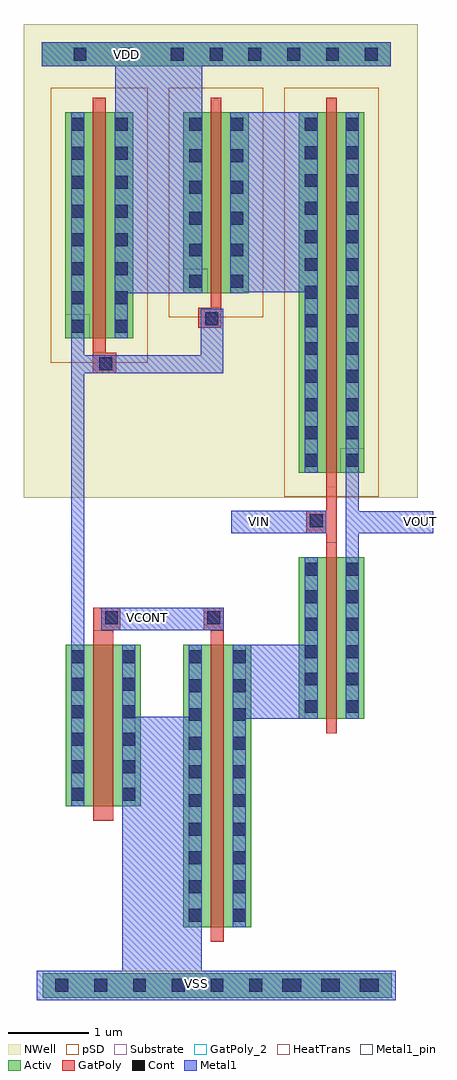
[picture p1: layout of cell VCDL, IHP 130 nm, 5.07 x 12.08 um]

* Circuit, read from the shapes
.subckt VCDL VCONT VDD VIN VOUT VSS
XM1 VSS VCONT n1 VSS sg13_lv_nmos w=2u l=0.25u
XM2 n2 VCONT VSS VSS sg13_lv_nmos w=3.5u l=0.16u
XM3 VOUT VIN n2 VSS sg13_lv_nmos w=2u l=0.13u
XM4 VDD n1 n1 VDD sg13_lv_pmos w=2.8u l=0.16u
XM5 n3 n1 VDD VDD sg13_lv_pmos w=2.24u l=0.13u
XM6 VOUT VIN n3 VDD sg13_lv_pmos w=4.46u l=0.13u
.ends

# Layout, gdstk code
from math import pi, radians
import gdstk
lib = gdstk.Library(unit=1e-6, precision=1e-09)
def R(c, l, rs):  # rectangles x0, y0, x1, y1
    for r in rs: c.add(gdstk.rectangle(r[:2], r[2:], *l))
def A(c, l, x, y, w, h, nx, ny, dx, dy):  # array of equal rectangles
    R(c, l, [(x+i*dx, y+j*dy, x+i*dx+w, y+j*dy+h) for i in range(nx) for j in range(ny)])
Activ = (1, 0)
GatPoly = (5, 0)
GatPoly_2 = (5, 2)
Cont = (6, 0)
Metal1 = (8, 0)
Metal1_pin = (8, 2)
pSD = (14, 0)
NWell = (31, 0)
Substrate = (40, 0)
HeatTrans = (51, 0)

nmos = lib.new_cell('nmos')
R(nmos, Activ, [(0,0,0.3,0.3), (0,0,0.81,2), (0.51,0,0.81,0.3)])
R(nmos, GatPoly, [(0.34,-0.18,0.47,2.18)])
R(nmos, GatPoly_2, [(0.34,-0.18,0.47,2.18)])
A(nmos, Cont, 0.07, 0.07, 0.16, 0.16, 1, 6, 0, 0.34)
A(nmos, Cont, 0.58, 0.07, 0.16, 0.16, 1, 6, 0, 0.34)
R(nmos, Metal1, [(0.07,0,0.23,2), (0.58,0,0.74,2)])
R(nmos, Metal1_pin, [(0.07,0,0.23,2), (0.58,0,0.74,2)])
R(nmos, HeatTrans, [(0.34,-0.18,0.47,2.18)])
nmos.add(gdstk.Label('nmos', (0.405,1), layer=63, texttype=0))
nmos.add(gdstk.Label('nmos', (0.405,1), layer=51, texttype=0))

pmos_1 = lib.new_cell('pmos$1')
R(pmos_1, Activ, [(0,0,0.3,0.3), (0,0,0.84,2.8), (0.54,0,0.84,0.3)])
R(pmos_1, GatPoly, [(0.34,-0.18,0.5,2.98), (0.34,-0.18,0.5,2.98)])
A(pmos_1, Cont, 0.07, 0.07, 0.16, 0.16, 1, 3, 0, 0.355)
A(pmos_1, Cont, 0.61, 0.07, 0.16, 0.16, 1, 3, 0, 0.355)
R(pmos_1, Cont, [(0.07,1.14,0.23,1.3), (0.61,1.14,0.77,1.3), (0.07,1.495,0.23,1.655), (0.61,1.495,0.77,1.655), (0.07,1.855,0.23,2.015), (0.61,1.855,0.77,2.015), (0.07,2.21,0.23,2.37), (0.61,2.21,0.77,2.37), (0.07,2.57,0.23,2.73), (0.61,2.57,0.77,2.73)])
R(pmos_1, Metal1, [(0.07,0,0.23,2.8), (0.07,0,0.23,2.8), (0.61,0,0.77,2.8), (0.61,0,0.77,2.8)])
R(pmos_1, pSD, [(-0.18,-0.3,1.02,3.1)])
R(pmos_1, NWell, [(-0.31,-0.31,1.15,3.11)])
R(pmos_1, Substrate, [(0.54,0,0.84,0.3)])
R(pmos_1, HeatTrans, [(0.34,-0.18,0.5,2.98)])
pmos_1.add(gdstk.Label('pmos', (0.42,1.4), layer=63, texttype=0))
pmos_1.add(gdstk.Label('pmos', (0.42,1.4), layer=51, texttype=0))

pmos = lib.new_cell('pmos')
R(pmos, Activ, [(0,0,0.3,0.3), (0,0,0.81,4.46), (0.51,0,0.81,0.3)])
R(pmos, GatPoly, [(0.34,-0.18,0.47,4.64), (0.34,-0.18,0.47,4.64)])
A(pmos, Cont, 0.07, 0.07, 0.16, 0.16, 1, 3, 0, 0.345)
A(pmos, Cont, 0.58, 0.07, 0.16, 0.16, 1, 3, 0, 0.345)
A(pmos, Cont, 0.07, 1.11, 0.16, 0.16, 1, 3, 0, 0.345)
A(pmos, Cont, 0.58, 1.11, 0.16, 0.16, 1, 3, 0, 0.345)
A(pmos, Cont, 0.07, 2.15, 0.16, 0.16, 1, 3, 0, 0.345)
A(pmos, Cont, 0.58, 2.15, 0.16, 0.16, 1, 3, 0, 0.345)
A(pmos, Cont, 0.07, 3.19, 0.16, 0.16, 1, 3, 0, 0.345)
A(pmos, Cont, 0.58, 3.19, 0.16, 0.16, 1, 3, 0, 0.345)
R(pmos, Cont, [(0.07,4.23,0.23,4.39), (0.58,4.23,0.74,4.39)])
R(pmos, Metal1, [(0.07,0,0.23,4.46), (0.07,0,0.23,4.46), (0.58,0,0.74,4.46), (0.58,0,0.74,4.46)])
R(pmos, pSD, [(-0.18,-0.3,0.99,4.76)])
R(pmos, NWell, [(-0.31,-0.31,1.12,4.77)])
R(pmos, Substrate, [(0.51,0,0.81,0.3)])
R(pmos, HeatTrans, [(0.34,-0.18,0.47,4.64)])
pmos.add(gdstk.Label('pmos', (0.405,2.23), layer=63, texttype=0))
pmos.add(gdstk.Label('pmos', (0.405,2.23), layer=51, texttype=0))

pmos_2 = lib.new_cell('pmos$2')
R(pmos_2, Activ, [(0,0,0.3,0.3), (0,0,0.81,2.24), (0.51,0,0.81,0.3)])
R(pmos_2, GatPoly, [(0.34,-0.18,0.47,2.42), (0.34,-0.18,0.47,2.42)])
A(pmos_2, Cont, 0.07, 1.23, 0.16, 0.16, 1, 3, 0, 0.39)
A(pmos_2, Cont, 0.58, 1.23, 0.16, 0.16, 1, 3, 0, 0.39)
R(pmos_2, Cont, [(0.07,0.07,0.23,0.23), (0.58,0.07,0.74,0.23), (0.07,0.455,0.23,0.615), (0.58,0.455,0.74,0.615), (0.07,0.845,0.23,1.005), (0.58,0.845,0.74,1.005)])
R(pmos_2, Metal1, [(0.07,0,0.23,2.24), (0.07,0,0.23,2.24), (0.58,0,0.74,2.24), (0.58,0,0.74,2.24)])
R(pmos_2, pSD, [(-0.18,-0.3,0.99,2.54)])
R(pmos_2, NWell, [(-0.31,-0.31,1.12,2.55)])
R(pmos_2, Substrate, [(0.51,0,0.81,0.3)])
R(pmos_2, HeatTrans, [(0.34,-0.18,0.47,2.42)])
pmos_2.add(gdstk.Label('pmos', (0.405,1.12), layer=63, texttype=0))
pmos_2.add(gdstk.Label('pmos', (0.405,1.12), layer=51, texttype=0))

nmos_2 = lib.new_cell('nmos$2')
R(nmos_2, Activ, [(0,0,0.3,0.3), (0,0,0.93,2), (0.63,0,0.93,0.3)])
R(nmos_2, GatPoly, [(0.34,-0.18,0.59,2.18)])
R(nmos_2, GatPoly_2, [(0.34,-0.18,0.59,2.18)])
A(nmos_2, Cont, 0.07, 0.07, 0.16, 0.16, 1, 6, 0, 0.34)
A(nmos_2, Cont, 0.7, 0.07, 0.16, 0.16, 1, 6, 0, 0.34)
R(nmos_2, Metal1, [(0.07,0,0.23,2), (0.7,0,0.86,2)])
R(nmos_2, Metal1_pin, [(0.07,0,0.23,2), (0.7,0,0.86,2)])
R(nmos_2, HeatTrans, [(0.34,-0.18,0.59,2.18)])
nmos_2.add(gdstk.Label('nmos', (0.465,1), layer=63, texttype=0))
nmos_2.add(gdstk.Label('nmos', (0.465,1), layer=51, texttype=0))

nmos_1 = lib.new_cell('nmos$1')
R(nmos_1, Activ, [(0,0,0.3,0.3), (0,0,0.84,3.5), (0.54,0,0.84,0.3)])
R(nmos_1, GatPoly, [(0.34,-0.18,0.5,3.68)])
R(nmos_1, GatPoly_2, [(0.34,-0.18,0.5,3.68)])
A(nmos_1, Cont, 0.07, 0.07, 0.16, 0.16, 1, 9, 0, 0.355)
A(nmos_1, Cont, 0.61, 0.07, 0.16, 0.16, 1, 9, 0, 0.355)
R(nmos_1, Cont, [(0.07,3.27,0.23,3.43), (0.61,3.27,0.77,3.43)])
R(nmos_1, Metal1, [(0.07,0,0.23,3.5), (0.61,0,0.77,3.5)])
R(nmos_1, Metal1_pin, [(0.07,0,0.23,3.5), (0.61,0,0.77,3.5)])
R(nmos_1, HeatTrans, [(0.34,-0.18,0.5,3.68)])
nmos_1.add(gdstk.Label('nmos', (0.42,1.75), layer=63, texttype=0))
nmos_1.add(gdstk.Label('nmos', (0.42,1.75), layer=51, texttype=0))

vcdl = lib.new_cell('VCDL')
R(vcdl, Activ, [(6.916,7.611,8.356,7.911), (6.916,7.611,8.356,7.911), (8.356,7.611,9.796,7.911), (8.356,7.611,9.796,7.911), (9.796,7.611,11.236,7.911), (9.796,7.611,11.236,7.911), (6.91,19.137,8.35,19.437), (8.345,19.137,9.785,19.437), (9.785,19.137,11.225,19.437)])
R(vcdl, GatPoly, [(7.541,12.16,7.88,12.439), (8.909,12.16,9.159,12.439), (10.43,13.244,10.56,13.93), (10.18,13.359,10.43,13.638), (7.54,15.34,7.826,15.591), (8.845,15.9,9.131,16.151)])
R(vcdl, GatPoly_2, [(10.43,13.93,10.56,18.75), (7.54,15.59,7.7,18.75), (9,16.15,9.13,18.75)])
R(vcdl, Cont, [(7.076,7.681,7.236,7.841), (7.076,7.681,7.236,7.841), (7.076,7.681,7.236,7.841), (7.076,7.681,7.236,7.841), (7.556,7.681,7.716,7.841), (7.556,7.681,7.716,7.841), (7.556,7.681,7.716,7.841), (7.556,7.681,7.716,7.841), (8.036,7.681,8.196,7.841), (8.036,7.681,8.196,7.841), (8.036,7.681,8.196,7.841), (8.036,7.681,8.196,7.841), (8.516,7.681,8.676,7.841), (8.516,7.681,8.676,7.841), (8.516,7.681,8.676,7.841), (8.516,7.681,8.676,7.841), (8.996,7.681,9.156,7.841), (8.996,7.681,9.156,7.841), (8.996,7.681,9.156,7.841), (8.996,7.681,9.156,7.841), (9.476,7.681,9.636,7.841), (9.476,7.681,9.636,7.841), (9.476,7.681,9.636,7.841), (9.476,7.681,9.636,7.841), (9.883,7.681,10.043,7.841), (9.883,7.681,10.043,7.841), (9.883,7.681,10.043,7.841), (9.883,7.681,10.043,7.841), (9.956,7.681,10.116,7.841), (9.956,7.681,10.116,7.841), (9.956,7.681,10.116,7.841), (9.956,7.681,10.116,7.841), (10.363,7.681,10.523,7.841), (10.363,7.681,10.523,7.841), (10.363,7.681,10.523,7.841), (10.363,7.681,10.523,7.841), (10.436,7.681,10.596,7.841), (10.436,7.681,10.596,7.841), (10.436,7.681,10.596,7.841), (10.436,7.681,10.596,7.841), (10.843,7.681,11.003,7.841), (10.843,7.681,11.003,7.841), (10.843,7.681,11.003,7.841), (10.843,7.681,11.003,7.841), (10.916,7.681,11.076,7.841), (10.916,7.681,11.076,7.841), (10.916,7.681,11.076,7.841), (10.916,7.681,11.076,7.841), (7.69,12.23,7.85,12.39), (8.954,12.232,9.114,12.392), (10.225,13.431,10.385,13.591), (7.621,15.376,7.781,15.536), (8.931,15.936,9.091,16.096), (7.3,19.207,7.46,19.367), (7.878,19.207,8.038,19.367), (7.878,19.207,8.038,19.367), (8.505,19.207,8.665,19.367), (8.985,19.207,9.145,19.367), (8.985,19.207,9.145,19.367), (9.465,19.207,9.625,19.367), (9.465,19.207,9.625,19.367), (9.945,19.207,10.105,19.367), (9.945,19.207,10.105,19.367), (10.425,19.207,10.585,19.367), (10.425,19.207,10.585,19.367), (10.905,19.207,11.065,19.367), (10.905,19.207,11.065,19.367)])
R(vcdl, Metal1, [(6.846,7.581,11.291,7.941), (6.846,7.581,11.291,7.941), (7.901,7.941,8.889,11.085), (9.269,11.064,10.32,11.98), (7.271,11.98,7.431,15.77), (7.64,12.16,9.159,12.439), (10.67,13.064,10.83,14.11), (9.253,13.359,10.43,13.638), (10.67,13.36,11.755,13.633), (7.32,15.34,9.155,15.56), (8.875,15.34,9.155,16.14), (7.815,16.33,8.89,19.437), (9.24,16.34,10.32,18.57), (6.904,19.137,11.227,19.437)])
R(vcdl, Metal1_pin, [(8.761,7.716,8.891,7.846), (8.145,12.25,8.275,12.38), (11.525,13.44,11.655,13.57), (9.54,13.445,9.67,13.575), (7.89,19.225,8.02,19.355)])
R(vcdl, pSD, [(6.846,7.581,8.426,7.941), (8.286,7.581,11.291,7.941)])
R(vcdl, NWell, [(6.681,13.8,11.561,19.662), (6.681,18.88,11.561,19.662)])
vcdl.add(gdstk.Reference(nmos, (10.09,11.064)))
vcdl.add(gdstk.Reference(pmos_1, (8.04,15.77), rotation=pi, x_reflection=True))
vcdl.add(gdstk.Reference(pmos, (10.09,14.11)))
vcdl.add(gdstk.Reference(pmos_2, (9.47,16.33), rotation=pi, x_reflection=True))
vcdl.add(gdstk.Reference(nmos_2, (8.131,9.98), rotation=pi, x_reflection=True))
vcdl.add(gdstk.Reference(nmos_1, (8.659,8.48)))
vcdl.add(gdstk.Label('VSS', (8.826,7.781), layer=8, texttype=25))
vcdl.add(gdstk.Label('VSS', (8.826,7.781), layer=8, texttype=25))
vcdl.add(gdstk.Label('VDD', (7.955,19.29), layer=8, texttype=25))
vcdl.add(gdstk.Label('VIN', (9.605,13.51), layer=8, texttype=25))
vcdl.add(gdstk.Label('VOUT', (11.59,13.505), layer=8, texttype=25))
vcdl.add(gdstk.Label('VCONT', (8.21,12.315), layer=8, texttype=25))

lib.write_gds('VCDL.gds')
